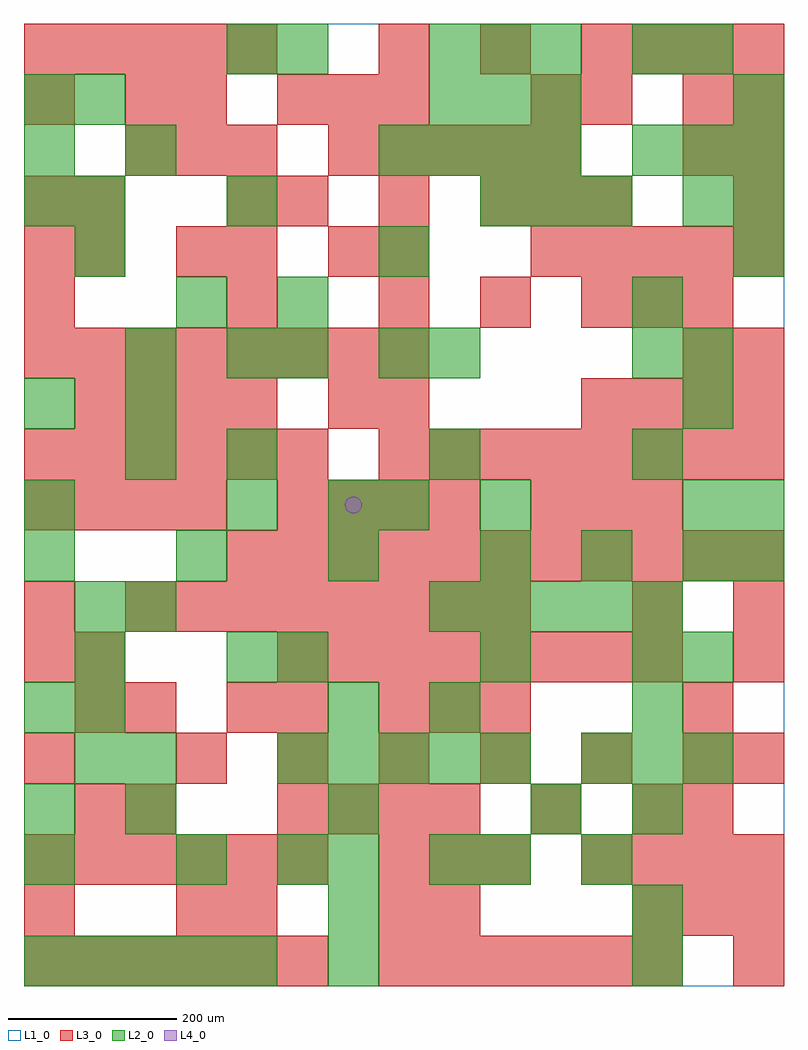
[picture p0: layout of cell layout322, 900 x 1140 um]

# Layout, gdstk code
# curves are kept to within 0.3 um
import gdstk
lib = gdstk.Library(unit=1e-6, precision=1e-09)
def R(c, l, rs):  # rectangles x0, y0, x1, y1
    for r in rs: c.add(gdstk.rectangle(r[:2], r[2:], *l))
def A(c, l, x, y, w, h, nx, ny, dx, dy):  # array of equal rectangles
    R(c, l, [(x+i*dx, y+j*dy, x+i*dx+w, y+j*dy+h) for i in range(nx) for j in range(ny)])
def P(c, l, *ps):  # polygons
    for p in ps: c.add(gdstk.Polygon(p, *l))
L1_0 = (1, 0)
L2_0 = (2, 0)
L3_0 = (3, 0)
L4_0 = (4, 0)

layout322 = lib.new_cell('layout322')
R(layout322, L1_0, [(0,0,900,1140)])
A(layout322, L2_0, 0, 0, 60, 60, 5, 1, 60, 0)
A(layout322, L2_0, 360, 0, 60, 60, 1, 3, 0, 60)
A(layout322, L2_0, 720, 60, 60, 60, 1, 3, 0, 120)
A(layout322, L2_0, 120, 180, 60, 60, 3, 1, 240, 0)
A(layout322, L2_0, 60, 240, 60, 60, 1, 4, 0, 60)
A(layout322, L2_0, 120, 240, 60, 60, 1, 3, 0, 180)
A(layout322, L2_0, 300, 240, 60, 60, 5, 1, 60, 0)
A(layout322, L2_0, 660, 240, 60, 60, 3, 1, 60, 0)
A(layout322, L2_0, 240, 360, 60, 60, 1, 5, 0, 180)
A(layout322, L2_0, 480, 420, 60, 60, 5, 1, 60, 0)
A(layout322, L2_0, 0, 480, 60, 60, 4, 1, 180, 0)
A(layout322, L2_0, 240, 600, 60, 60, 3, 1, 240, 0)
A(layout322, L2_0, 780, 720, 60, 60, 1, 3, 0, 180)
A(layout322, L2_0, 0, 900, 60, 60, 1, 3, 0, 60)
A(layout322, L2_0, 540, 900, 60, 60, 3, 1, 60, 0)
A(layout322, L2_0, 420, 960, 60, 60, 4, 1, 60, 0)
A(layout322, L2_0, 720, 960, 60, 60, 3, 1, 60, 0)
A(layout322, L2_0, 480, 1020, 60, 60, 3, 2, 60, 60)
R(layout322, L2_0, [(720,0,780,60), (0,120,60,180), (180,120,240,180), (300,120,360,180), (480,120,540,180), (540,120,600,180), (660,120,720,180), (0,180,60,240), (0,300,60,360), (360,300,420,360), (480,300,540,360), (300,360,360,420), (540,360,600,420), (720,360,780,420), (780,360,840,420), (660,480,720,540), (780,480,840,540), (840,480,900,540), (0,540,60,600), (360,540,420,600), (420,540,480,600), (540,540,600,600), (780,540,840,600), (840,540,900,600), (0,660,60,720), (120,660,180,720), (780,660,840,720), (120,720,180,780), (300,720,360,780), (420,720,480,780), (480,720,540,780), (720,720,780,780), (180,780,240,840), (300,780,360,840), (720,780,780,840), (60,840,120,900), (420,840,480,900), (840,840,900,900), (60,900,120,960), (840,900,900,960), (120,960,180,1020), (60,1020,120,1080), (840,1020,900,1080), (300,1080,360,1140), (720,1080,780,1140)])
A(layout322, L3_0, 0, 0, 60, 60, 6, 2, 60, 120)
A(layout322, L3_0, 420, 0, 60, 60, 6, 1, 60, 0)
A(layout322, L3_0, 720, 60, 60, 60, 3, 2, 60, 1020)
A(layout322, L3_0, 420, 120, 60, 60, 3, 2, 60, 180)
A(layout322, L3_0, 660, 120, 60, 60, 4, 2, 60, 540)
A(layout322, L3_0, 300, 180, 60, 60, 4, 2, 60, 360)
A(layout322, L3_0, 180, 240, 60, 60, 6, 1, 120, 0)
A(layout322, L3_0, 300, 360, 60, 60, 8, 1, 60, 0)
A(layout322, L3_0, 120, 420, 60, 60, 8, 1, 60, 0)
A(layout322, L3_0, 240, 480, 60, 60, 11, 1, 60, 0)
A(layout322, L3_0, 0, 540, 60, 60, 4, 1, 60, 0)
A(layout322, L3_0, 600, 540, 60, 60, 3, 1, 60, 0)
A(layout322, L3_0, 0, 600, 60, 60, 6, 1, 60, 0)
A(layout322, L3_0, 420, 600, 60, 60, 8, 1, 60, 0)
A(layout322, L3_0, 60, 660, 60, 60, 4, 1, 60, 0)
A(layout322, L3_0, 0, 720, 60, 60, 8, 1, 60, 0)
A(layout322, L3_0, 0, 780, 60, 60, 1, 3, 0, 60)
A(layout322, L3_0, 240, 780, 60, 60, 1, 3, 0, 60)
A(layout322, L3_0, 420, 780, 60, 60, 3, 2, 120, 300)
A(layout322, L3_0, 600, 840, 60, 60, 5, 1, 60, 0)
A(layout322, L3_0, 300, 900, 60, 60, 3, 1, 120, 0)
A(layout322, L3_0, 840, 900, 60, 60, 1, 3, 0, 60)
A(layout322, L3_0, 120, 960, 60, 60, 3, 1, 60, 0)
A(layout322, L3_0, 360, 960, 60, 60, 5, 1, 60, 0)
A(layout322, L3_0, 300, 1020, 60, 60, 3, 1, 60, 0)
A(layout322, L3_0, 0, 1080, 60, 60, 5, 1, 60, 0)
R(layout322, L3_0, [(840,0,900,60), (0,60,60,120), (180,60,240,120), (240,60,300,120), (420,60,480,120), (480,60,540,120), (60,180,120,240), (120,180,180,240), (600,180,660,240), (720,180,780,240), (780,180,840,240), (0,240,60,300), (840,240,900,300), (60,300,120,360), (120,300,180,360), (240,300,300,360), (300,300,360,360), (780,300,840,360), (0,360,60,420), (60,360,120,420), (840,360,900,420), (0,420,60,480), (720,420,780,480), (840,420,900,480), (360,660,420,720), (420,660,480,720), (780,720,840,780), (840,720,900,780), (720,780,780,840), (780,780,840,840), (60,840,120,900), (180,840,240,900), (360,840,420,900), (420,840,480,900), (60,900,120,960), (600,900,660,960), (660,900,720,960), (780,960,840,1020), (0,1020,60,1080), (120,1020,180,1080), (180,1020,240,1080), (600,1020,660,1080), (660,1020,720,1080), (780,1020,840,1080)])
P(layout322, L4_0, [(400,570),(399.239,573.827),(397.071,577.071),(393.827,579.239),(390,580),(386.173,579.239),(382.929,577.071),(380.761,573.827),(380,570),(380.761,566.173),(382.929,562.929),(386.173,560.761),(390,560),(393.827,560.761),(397.071,562.929),(399.239,566.173)])

lib.write_gds('layout322.gds')
